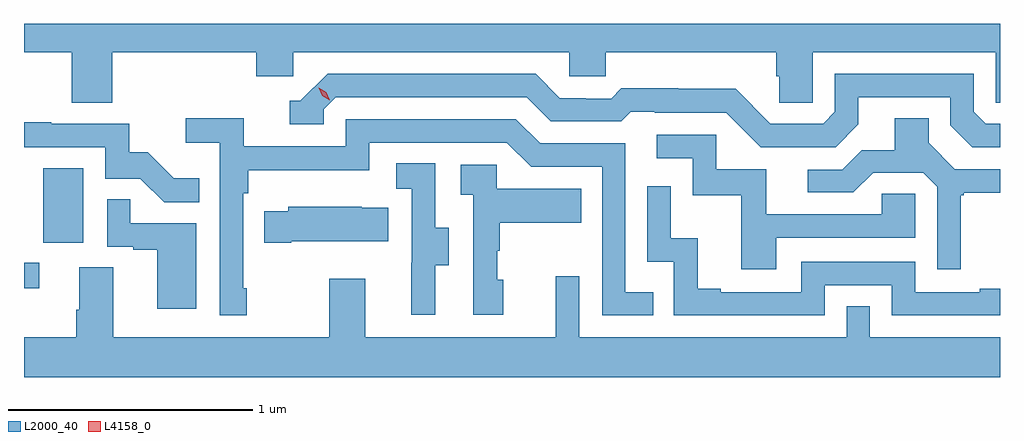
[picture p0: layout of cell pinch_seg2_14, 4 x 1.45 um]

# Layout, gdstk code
import gdstk
lib = gdstk.Library(unit=1e-6, precision=1e-09)
def R(c, l, rs):  # rectangles x0, y0, x1, y1
    for r in rs: c.add(gdstk.rectangle(r[:2], r[2:], *l))
def P(c, l, *ps):  # polygons
    for p in ps: c.add(gdstk.Polygon(p, *l))
L2000_40 = (2000, 40)
L4158_0 = (4158, 0)

pinch_seg2_14 = lib.new_cell('pinch_seg2_14')
R(pinch_seg2_14, L2000_40, [(1089.649,665.316,1089.712,665.421), (1089.728,665.502,1089.892,665.809)])
P(pinch_seg2_14, L2000_40, [(1090.01,666.284),(1090.601,666.284),(1090.601,666.186),(1090.752,666.186),(1090.752,666.284),(1091.883,666.284),(1091.883,666.186),(1092.033,666.186),(1092.033,666.284),(1092.731,666.284),(1092.731,666.186),(1092.745,666.186),(1092.745,666.076),(1092.882,666.076),(1092.882,666.284),(1093.632,666.284),(1093.632,666.076),(1093.649,666.076),(1093.649,666.4),(1089.649,666.4),(1089.649,666.284),(1089.845,666.284),(1089.845,666.076),(1090.01,666.076)],
  [(1093.069,665.989),(1093.069,666.099),(1093.446,666.099),(1093.446,665.985),(1093.536,665.895),(1093.649,665.895),(1093.649,665.991),(1093.59,665.991),(1093.542,666.039),(1093.542,666.195),(1092.972,666.195),(1092.972,666.039),(1092.924,665.991),(1092.708,665.991),(1092.566,666.133),(1092.33,666.133),(1092.33,666.136),(1092.097,666.136),(1092.055,666.093),(1091.952,666.093),(1091.952,666.096),(1091.845,666.096),(1091.746,666.195),(1090.893,666.195),(1090.782,666.084),(1090.739,666.084),(1090.739,665.988),(1090.878,665.988),(1090.878,666.051),(1090.926,666.099),(1091.709,666.099),(1091.808,666),(1092.097,666),(1092.136,666.039),(1092.235,666.039),(1092.235,666.036),(1092.528,666.036),(1092.669,665.895),(1092.975,665.895)],
  [(1090.561,665.317),(1090.548,665.317),(1090.548,665.705),(1090.568,665.705),(1090.568,665.801),(1091.064,665.801),(1091.064,665.913),(1091.628,665.913),(1091.727,665.814),(1092.018,665.814),(1092.018,665.205),(1092.227,665.205),(1092.227,665.301),(1092.114,665.301),(1092.114,665.91),(1091.764,665.91),(1091.665,666.009),(1090.968,666.009),(1090.968,665.898),(1090.55,665.898),(1090.55,666.014),(1090.311,666.014),(1090.311,665.912),(1090.452,665.912),(1090.452,665.205),(1090.561,665.205)],
  [(1093.489,665.697),(1093.501,665.697),(1093.501,665.708),(1093.649,665.708),(1093.649,665.805),(1093.464,665.805),(1093.357,665.912),(1093.357,666.014),(1093.217,666.014),(1093.217,665.882),(1093.082,665.882),(1093.002,665.802),(1092.861,665.802),(1092.861,665.709),(1093.048,665.709),(1093.129,665.79),(1093.335,665.79),(1093.392,665.733),(1093.392,665.394),(1093.489,665.394)],
  [(1090.367,665.767),(1090.263,665.767),(1090.156,665.874),(1090.08,665.874),(1090.08,665.991),(1089.761,665.991),(1089.761,665.996),(1089.649,665.996),(1089.649,665.895),(1089.981,665.895),(1089.981,665.766),(1090.125,665.766),(1090.223,665.668),(1090.367,665.668)],
  [(1092.733,665.523),(1093.302,665.523),(1093.302,665.703),(1093.165,665.703),(1093.165,665.619),(1092.691,665.619),(1092.691,665.805),(1092.486,665.805),(1092.486,665.946),(1092.243,665.946),(1092.243,665.85),(1092.39,665.85),(1092.39,665.697),(1092.589,665.697),(1092.589,665.394),(1092.733,665.394)],
  [(1091.335,665.41),(1091.389,665.41),(1091.389,665.565),(1091.334,665.565),(1091.334,665.828),(1091.175,665.828),(1091.175,665.725),(1091.238,665.725),(1091.238,665.421),(1091.237,665.421),(1091.237,665.208),(1091.335,665.208)],
  [(1091.614,665.352),(1091.589,665.352),(1091.589,665.471),(1091.599,665.471),(1091.599,665.585),(1091.933,665.585),(1091.933,665.725),(1091.586,665.725),(1091.586,665.823),(1091.439,665.823),(1091.439,665.699),(1091.49,665.699),(1091.49,665.208),(1091.614,665.208)],
  [(1092.93,665.328),(1093.206,665.328),(1093.206,665.205),(1093.649,665.205),(1093.649,665.314),(1093.565,665.314),(1093.565,665.301),(1093.302,665.301),(1093.302,665.424),(1092.834,665.424),(1092.834,665.301),(1092.505,665.301),(1092.505,665.314),(1092.41,665.314),(1092.41,665.522),(1092.3,665.522),(1092.3,665.734),(1092.204,665.734),(1092.204,665.424),(1092.312,665.424),(1092.312,665.205),(1092.93,665.205)],
  [(1090.354,665.583),(1090.085,665.583),(1090.085,665.681),(1089.99,665.681),(1089.99,665.487),(1090.097,665.487),(1090.097,665.475),(1090.196,665.475),(1090.196,665.232),(1090.354,665.232)],
  [(1090.744,665.51),(1091.141,665.51),(1091.141,665.647),(1091.033,665.647),(1091.033,665.65),(1090.731,665.65),(1090.731,665.632),(1090.633,665.632),(1090.633,665.503),(1090.744,665.503)],
  [(1093.649,665.116),(1093.116,665.116),(1093.116,665.243),(1093.02,665.243),(1093.02,665.116),(1091.925,665.116),(1091.925,665.365),(1091.828,665.365),(1091.828,665.116),(1091.047,665.116),(1091.047,665.356),(1090.9,665.356),(1090.9,665.116),(1090.015,665.116),(1090.015,665.402),(1089.875,665.402),(1089.875,665.228),(1089.863,665.228),(1089.863,665.116),(1089.649,665.116),(1089.649,664.952),(1093.649,664.952)])
P(pinch_seg2_14, L4158_0, [(1090.903,666.086),(1090.872,666.106),(1090.857,666.139),(1090.857,666.139),(1090.857,666.139),(1090.888,666.119),(1090.903,666.086),(1090.903,666.086)])

lib.write_gds('pinch_seg2_14.gds')
